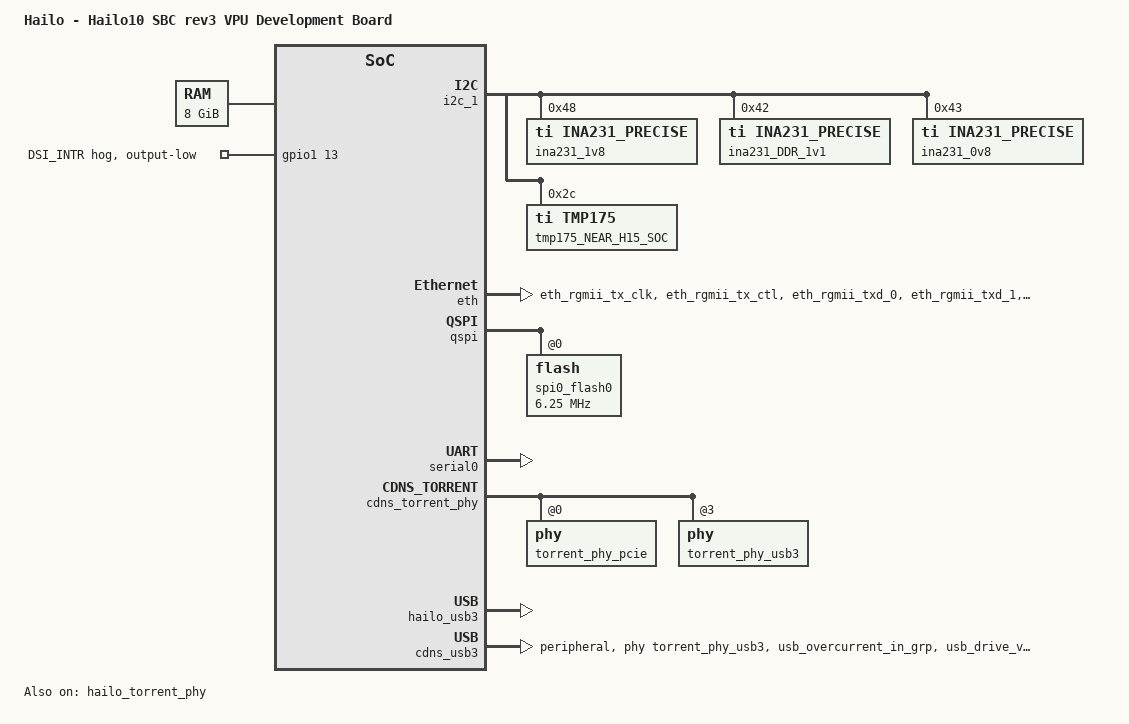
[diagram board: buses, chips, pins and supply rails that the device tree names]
// SPDX-License-Identifier:     GPL-2.0
/*
* Copyright (c) 2019-2025 Hailo Technologies Ltd. All rights reserved.
*/

/dts-v1/;
#include "hailo10-base.dtsi"
#include "hailo10-8gb-cma-config.dtsi"
#include <dt-bindings/gpio/gpio.h>

/ {
    model = "Hailo - Hailo10 SBC rev3 VPU Development Board";

    memory {
        device_type = "memory";
        reg = <0x00000000 0x80000000 0x00000002 0x00000000>;
    };

    chosen {
        bootargs = "console=ttyS1,115200n8 quiet loglevel=3 rootwait wait_initrd_image root=/dev/ram0 ramdisk_size=0x10000000";
        linux,initrd-start = <0x90000000>;
        linux,initrd-end = <0xA0000000>;
    };

};

&i2c_1 {
    status = "ok";
    i2c-sda-falling-time-ns = <1000>;

    ina231_1v8: 1v8@48 {
        compatible = "ti,ina231_precise";
        reg = <0x48>;
        shunt-resistor = <100000>;
        max-current = <260>;
    };
    ina231_DDR_1v1: DDR_1v1@42 {
        compatible = "ti,ina231_precise";
        reg = <0x42>;
        shunt-resistor = <50000>;
        max-current = <170>;
    };
    ina231_0v8: 0v8@43 {
        compatible = "ti,ina231_precise";
        reg = <0x43>;
        shunt-resistor = <1000>;
        max-current = <11755>;
    };
/*     ina231_0v6: 0v6@45 {
       compatible = "ti,ina231_precise";
       reg = <0x45>;
       shunt-resistor = <50000>;
       max-current = <5>;
   };*/

    tmp175_NEAR_H15_SOC: NEAR_H15_SOC@2c {
        compatible = "ti,tmp175";
        reg = <0x2c>;
    };
};

&eth {
    status = "ok";
    pinctrl-names = "default";
    pinctrl-0 = <&pinctrl_eth>;
};

&qspi {
    status = "ok";

    spi0_flash0: flash@0 {
        /* values for MT25QU01G */
        spi-max-frequency = <6250000>; /* 90Mhz in DTR, 166Mhz in STR */
        cdns,read-delay = <7>;
        cdns,tshsl-ns = <30>;
        cdns,tsd2d-ns = <30>;
        cdns,tchsh-ns = <5>;
        cdns,tslch-ns = <3>;
    };
};

&serial0 {
 status = "ok";
};

&pinctrl {

    pinctrl_eth: eth {
        pins = "eth_rgmii_tx_clk",
               "eth_rgmii_tx_ctl",
               "eth_rgmii_txd_0",
               "eth_rgmii_txd_1",
               "eth_rgmii_txd_2",
               "eth_rgmii_txd_3";
        drive-strength = <2>;
    };

    pinctrl_usb_overcurrent_n_in: pinctrl_usb_overcurrent_n_in {
        function = "usb_overcurrent_in";
        groups = "usb_overcurrent_in_grp";
    };

    pinctrl_usb_drive_vbus_out: pinctrl_usb_drive_vbus_out {
        function = "usb_drive_vbus_out";
        groups = "usb_drive_vbus_out_2_grp";
    };
};

#define GPIO_LINE_NAMES \
    "gpio_in_out_0",            "gpio_in_out_1",            "DSI_RST",                  "gpio_in_out_3", \
    "cam0_reset_n",             "cam1_reset_n",             "i2c2_sda_in_out",          "i2c2_scl_out", \
    "gpio_in_out_8",            "sdio0_gp_in",              "sdio0_cd_in",              "usb_overcurrent_n_in", \
    "usb_drive_vbus_out",       "sdio1_gp_in",              "sdio1_cd_in_n",            "PCIe_mperst_out", \
    \
    "gpio_in_out_16",           "sdcard_vdd_sel",           "timer_ext_in0",             "timer_ext_in1", \
    "shut_down_out",            "user_LED",                 "gpio_in_out_22",            "gpio_in_out_23", \
    "i2c2_current_src_en_out",  "i2c0_current_src_en_out",  "i2c1_current_src_en_out",   "pwm_0", \
    "pwm_1",                    "DSI_INTR",                 "uart0_cts_pad_in",          "uart0_rts_pad_out"

&gpio0 {
    gpio-ranges = <&pinctrl 0 0 16>;

    gpio-line-names = GPIO_LINE_NAMES;
};

&gpio1 {
    gpio-ranges = <&pinctrl 0 16 16>;

    gpio-line-names = GPIO_LINE_NAMES;

    pin_DSI_INTR {
        gpio-hog;
        gpios = <13 GPIO_ACTIVE_HIGH>;
        output-low;
        line-name = "DSI_INTR";
    };
};

&hailo_torrent_phy {
    status = "okay";
    usb-lane = <3>;
    usb-lane-pma-pll-full-rate-divider = <PCI_PMA_PLL_FULL_RATE_CLK_DIVIDER_4>;
    lanes-config = <PCI_PHY_LINK_LANES_CFG__2x1_PLUS_1x2__MASTER_LANES_LN0_LN2_LN3>;
};

&cdns_torrent_phy {
    torrent_phy_pcie: phy@0 {
        reg = <0>;
        resets = <&scmi_reset HAILO15_SCMI_RESET_IDX_PCIE_PHY_LANE_0>, <&scmi_reset HAILO15_SCMI_RESET_IDX_PCIE_PHY_LANE_1>;
        #phy-cells = <0>;
        cdns,phy-type = <PHY_TYPE_PCIE>;
        cdns,num-lanes = <2>;
    };
    torrent_phy_usb3: phy@3 {
        reg = <3>;
        resets = <&scmi_reset HAILO15_SCMI_RESET_IDX_PCIE_PHY_LANE_3>;
        #phy-cells = <0>;
        cdns,phy-type = <PHY_TYPE_USB3>;
        cdns,num-lanes = <1>;
        cdns,ssc-mode = <TORRENT_SERDES_NO_SSC>;
    };
};

&hailo_usb3 {
    status = "okay";
};

&cdns_usb3 {
    dr_mode = "peripheral"; // Make usb driver device mode
    phys = <&torrent_phy_usb3>;
    phy-names = "cdns3,usb3-phy";
    pinctrl-names = "default";
    pinctrl-0 = <&pinctrl_usb_overcurrent_n_in>, <&pinctrl_usb_drive_vbus_out>;
};
